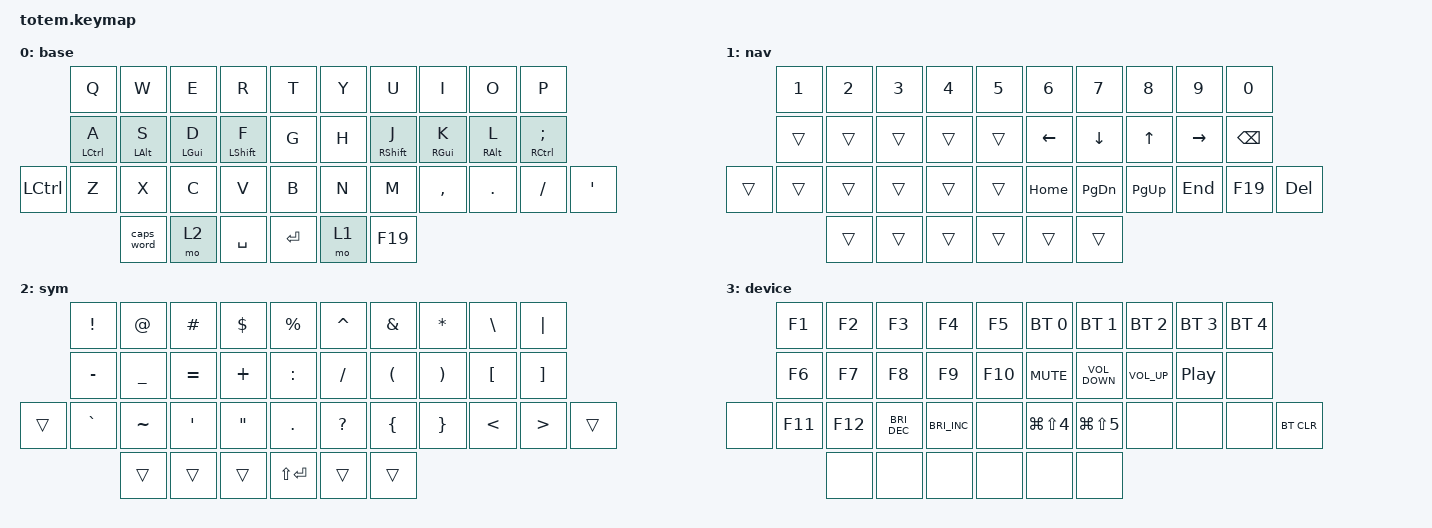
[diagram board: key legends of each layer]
//
//                                                        ▀▀▀▀▀     ▀▀▀▀▀          ▀▀█▀▀
//                                                        ▄▀▀▀▄  ▄  ▄▀▀▀▄  ▄  ▄▀▀▀▄  █  ▄▀▀▀▄
//                                                        █   █  █  █   █  █  █   █  █  █   █
//                                                         ▀▀▀   █   ▀▀▀   █   ▀▀▀   ▀   ▀▀▀
//                                                               █      ▄▄▄█▄▄▄    █   █  
//                                                               ▀      █  █  █     █▄█
//                                                             ▀▀▀▀▀    █  █  █      ▀
//                                                                      ▀  ▀  ▀
//
// ▄▄▄▄▄▄▄▄▄▄▄▄▄▄▄▄▄▄▄▄▄▄▄▄▄▄▄▄▄▄▄▄▄▄▄▄▄▄▄▄▄▄▄▄▄▄▄▄▄▄▄▄▄▄▄▄▄▄▄▄▄▄▄▄▄▄▄▄▄▄▄▄▄▄▄▄▄▄▄▄▄▄▄▄▄▄▄▄▄▄▄▄▄▄▄▄▄▄▄▄▄▄▄▄▄▄▄▄▄▄▄▄▄▄▄▄▄▄▄▄▄▄▄▄▄▄▄▄▄▄▄▄▄▄▄▄▄▄▄▄▄▄▄▄▄▄▄▄▄

#include <behaviors.dtsi>
#include <dt-bindings/zmk/bt.h>
#include <dt-bindings/zmk/keys.h>

/ {
    combos {
        compatible = "zmk,combos";

        combo_esc {
            timeout-ms = <50>;
            key-positions = <0 1>;
            layers = <0>;
            bindings = <&kp ESC>;
            require-prior-idle-ms = <100>;
        };

        combo_tab {
            timeout-ms = <50>;
            key-positions = <10 11>;
            layers = <0>;
            bindings = <&kp TAB>;
            require-prior-idle-ms = <100>;
        };

        combo_ctrl_grave {
            timeout-ms = <50>;
            key-positions = <21 22>;
            layers = <0>;
            bindings = <&kp LC(GRAVE)>;
            require-prior-idle-ms = <100>;
        };

        combo_lang {
            timeout-ms = <50>;
            key-positions = <29 30>;
            layers = <0>;
            bindings = <&kp F19>;
            require-prior-idle-ms = <100>;
        };

        combo_copy {
            timeout-ms = <50>;
            key-positions = <22 23>;
            layers = <0>;
            bindings = <&kp LG(C)>;
            require-prior-idle-ms = <100>;
        };

        combo_paste {
            timeout-ms = <50>;
            key-positions = <23 24>;
            layers = <0>;
            bindings = <&kp LG(V)>;
            require-prior-idle-ms = <100>;
        };

    };

    behaviors {
        hml: homerow_left {
            compatible = "zmk,behavior-hold-tap";
            label = "HML";
            #binding-cells = <2>;
            flavor = "balanced";
            tapping-term-ms = <120>;
            quick-tap-ms = <150>;
            require-prior-idle-ms = <100>;
            hold-trigger-key-positions = <5 6 7 8 9 15 16 17 18 19 26 27 28 29 30 31 35 36 37>;
            hold-trigger-on-release;
            bindings = <&kp>, <&kp>;
        };

        hmr: homerow_right {
            compatible = "zmk,behavior-hold-tap";
            label = "HMR";
            #binding-cells = <2>;
            flavor = "balanced";
            tapping-term-ms = <120>;
            quick-tap-ms = <150>;
            require-prior-idle-ms = <100>;
            hold-trigger-key-positions = <0 1 2 3 4 10 11 12 13 14 20 21 22 23 24 25 32 33 34>;
            hold-trigger-on-release;
            bindings = <&kp>, <&kp>;
        };

        hsl: homerow_shift_left {
            compatible = "zmk,behavior-hold-tap";
            label = "HSL";
            #binding-cells = <2>;
            flavor = "balanced";
            tapping-term-ms = <120>;
            quick-tap-ms = <150>;
            require-prior-idle-ms = <50>;
            hold-trigger-key-positions = <5 6 7 8 9 15 16 17 18 19 26 27 28 29 30 31 35 36 37>;
            hold-trigger-on-release;
            bindings = <&kp>, <&kp>;
        };

        hsr: homerow_shift_right {
            compatible = "zmk,behavior-hold-tap";
            label = "HSR";
            #binding-cells = <2>;
            flavor = "balanced";
            tapping-term-ms = <120>;
            quick-tap-ms = <150>;
            require-prior-idle-ms = <50>;
            hold-trigger-key-positions = <0 1 2 3 4 10 11 12 13 14 20 21 22 23 24 25 32 33 34>;
            hold-trigger-on-release;
            bindings = <&kp>, <&kp>;
        };

    };

    keymap {
        compatible = "zmk,keymap";

        base {
            bindings = <
            &kp Q         &kp W        &kp E        &kp R         &kp T      &kp Y  &kp U         &kp I        &kp O        &kp P
            &hml LCTRL A  &hml LALT S  &hml LGUI D  &hsl LSHFT F  &kp G      &kp H  &hsr RSHFT J  &hmr RGUI K  &hmr RALT L  &hmr RCTRL SEMI
&kp LCTRL   &kp Z         &kp X        &kp C        &kp V         &kp B      &kp N  &kp M         &kp COMMA    &kp DOT      &kp FSLH         &kp APOS
                          &caps_word   &mo 2        &kp SPACE     &kp ENTER  &mo 1  &kp F19
            >;
        };

        nav {
            bindings = <
        &kp NUMBER_1  &kp NUMBER_2  &kp NUMBER_3  &kp NUMBER_4  &kp NUMBER_5  &kp NUMBER_6    &kp NUMBER_7    &kp NUMBER_8  &kp NUMBER_9     &kp NUMBER_0
        &trans        &trans        &trans        &trans        &trans        &kp LEFT_ARROW  &kp DOWN_ARROW  &kp UP_ARROW  &kp RIGHT_ARROW  &kp BACKSPACE
&trans  &trans        &trans        &trans        &trans        &trans        &kp HOME        &kp PG_DN       &kp PG_UP     &kp END          &kp F19        &kp DEL
                      &trans        &trans        &trans        &trans        &trans          &trans
            >;
        };

        sym {
            bindings = <
        &kp EXCL   &kp AT     &kp HASH  &kp DLLR  &kp PRCNT  &kp CARET     &kp AMPS  &kp ASTRK  &kp BSLH  &kp PIPE
        &kp MINUS  &kp UNDER  &kp EQUAL &kp PLUS  &kp COLON  &kp FSLH      &kp LPAR  &kp RPAR   &kp LBKT  &kp RBKT
&trans  &kp GRAVE  &kp TILDE  &kp SQT   &kp DQT   &kp DOT    &kp QMARK     &kp LBRC  &kp RBRC   &kp LT    &kp GT    &trans
                              &trans    &trans    &trans     &kp LS(ENTER) &trans    &trans
            >;
        };

        device {
            bindings = <
       &kp F1   &kp F2   &kp F3                &kp F4                &kp F5   &bt BT_SEL 0  &bt BT_SEL 1       &bt BT_SEL 2     &bt BT_SEL 3      &bt BT_SEL 4
       &kp F6   &kp F7   &kp F8                &kp F9                &kp F10  &kp K_MUTE    &kp C_VOLUME_DOWN  &kp C_VOLUME_UP  &kp C_PLAY_PAUSE  &none
&none  &kp F11  &kp F12  &kp C_BRIGHTNESS_DEC  &kp C_BRIGHTNESS_INC  &none    &kp LG(LS(N4))  &kp LG(LS(N5))   &none            &none             &none         &bt BT_CLR
                         &none                 &none                 &none    &none         &none              &none
            >;
        };

        extra1 { status = "reserved"; };

        extra2 { status = "reserved"; };

        extra3 { status = "reserved"; };
    };

    conditional_layers {
        compatible = "zmk,conditional-layers";

        device {
            if-layers = <1 2>;
            then-layer = <3>;
        };
    };
};
